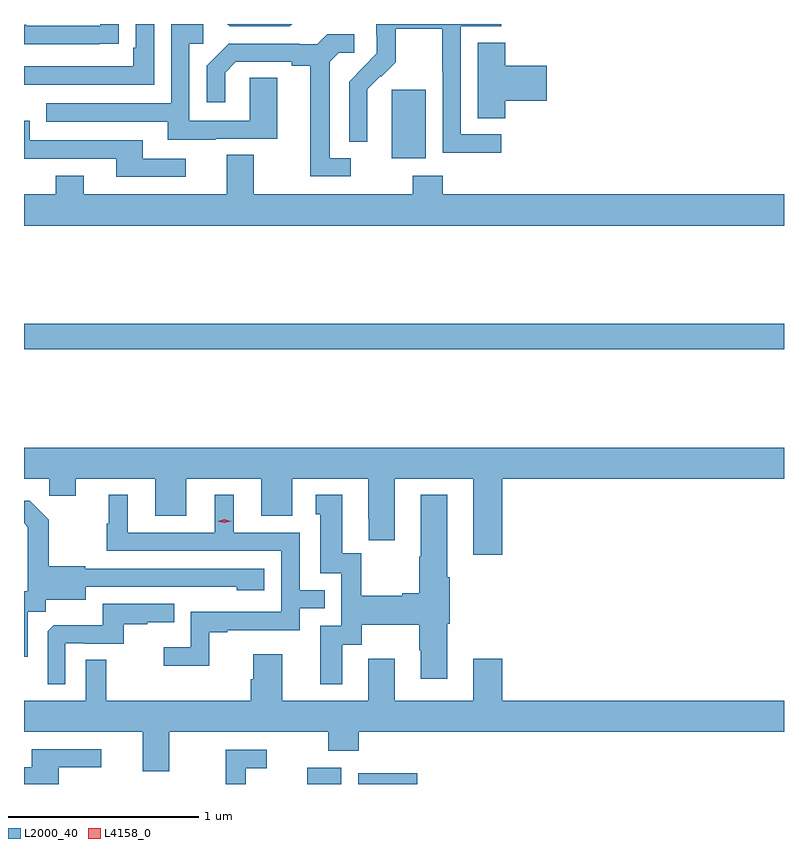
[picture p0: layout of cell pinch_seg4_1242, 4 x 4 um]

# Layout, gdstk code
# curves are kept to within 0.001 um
import gdstk
lib = gdstk.Library(unit=1e-6, precision=1e-09)
def R(c, l, rs):  # rectangles x0, y0, x1, y1
    for r in rs: c.add(gdstk.rectangle(r[:2], r[2:], *l))
def P(c, l, *ps):  # polygons
    for p in ps: c.add(gdstk.Polygon(p, *l))
L2000_40 = (2000, 40)
L4158_0 = (4158, 0)

pinch_seg4_1242 = lib.new_cell('pinch_seg4_1242')
R(pinch_seg4_1242, L2000_40, [(264.8,768.573,264.979,768.658), (265.068,768.573,265.378,768.63), (263.309,770.86,267.309,770.996), (265.244,771.866,265.423,772.227)])
P(pinch_seg4_1242, L2000_40, [(265.822,771.993),(265.608,771.993),(265.608,772.56),(265.822,772.56),(265.822,772.573),(265.164,772.573),(265.164,772.515),(265.166,772.515),(265.166,772.418),(265.02,772.27),(265.02,771.952),(265.116,771.952),(265.115,772.229),(265.185,772.299),(265.188,772.296),(265.265,772.373),(265.265,772.548),(265.51,772.548),(265.51,772.324),(265.512,772.324),(265.512,771.895),(265.822,771.895)],
  [(264.721,772.573),(264.38,772.573),(264.393,772.56),(264.708,772.56)],
  [(263.994,772.573),(263.898,772.573),(263.898,772.447),(263.885,772.447),(263.885,772.35),(263.309,772.35),(263.309,772.254),(263.994,772.254)],
  [(263.705,772.468),(263.807,772.468),(263.807,772.573),(263.711,772.573),(263.711,772.563),(263.321,772.563),(263.321,772.568),(263.309,772.568),(263.309,772.467),(263.705,772.467)],
  [(264.319,771.969),(264.643,771.969),(264.643,772.289),(264.498,772.289),(264.498,772.065),(264.18,772.065),(264.18,772.47),(264.253,772.47),(264.253,772.571),(264.084,772.571),(264.084,772.155),(263.425,772.155),(263.425,772.059),(264.065,772.059),(264.065,771.965),(264.319,771.965)],
  [(265.03,771.867),(264.919,771.867),(264.919,772.375),(264.966,772.422),(265.048,772.422),(265.048,772.519),(264.904,772.519),(264.852,772.467),(264.758,772.467),(264.758,772.47),(264.386,772.47),(264.27,772.354),(264.27,772.161),(264.367,772.161),(264.367,772.317),(264.424,772.374),(264.719,772.374),(264.719,772.352),(264.815,772.352),(264.815,771.771),(265.03,771.771)],
  [(265.841,772.169),(266.059,772.169),(266.059,772.352),(265.841,772.352),(265.841,772.475),(265.697,772.475),(265.697,772.078),(265.841,772.078)],
  [(264.16,771.864),(263.935,771.864),(263.935,771.96),(263.34,771.96),(263.34,772.063),(263.309,772.063),(263.309,771.864),(263.795,771.864),(263.795,771.768),(264.16,771.768)],
  [(267.309,771.676),(265.514,771.676),(265.514,771.775),(265.354,771.775),(265.354,771.676),(264.517,771.676),(264.517,771.884),(264.377,771.884),(264.377,771.676),(263.623,771.676),(263.623,771.775),(263.476,771.775),(263.476,771.676),(263.309,771.676),(263.309,771.512),(267.309,771.512)],
  [(265.826,770.18),(267.309,770.18),(267.309,770.344),(263.309,770.344),(263.309,770.18),(263.443,770.18),(263.443,770.09),(263.581,770.09),(263.581,770.18),(263.999,770.18),(263.999,769.986),(264.163,769.986),(264.163,770.18),(264.557,770.18),(264.557,769.986),(264.721,769.986),(264.721,770.18),(265.121,770.18),(265.121,769.969),(265.124,769.969),(265.124,769.857),(265.261,769.857),(265.261,770.18),(265.673,770.18),(265.673,769.779),(265.826,769.779)],
  [(264.985,769.306),(265.087,769.306),(265.087,769.412),(265.39,769.412),(265.39,769.278),(265.397,769.278),(265.397,769.128),(265.537,769.128),(265.537,769.416),(265.55,769.416),(265.55,769.66),(265.537,769.66),(265.537,770.095),(265.397,770.095),(265.397,769.769),(265.39,769.769),(265.39,769.577),(265.301,769.577),(265.301,769.564),(265.083,769.564),(265.083,769.787),(264.985,769.787),(264.985,770.095),(264.845,770.095),(264.845,769.992),(264.869,769.992),(264.869,769.683),(264.978,769.683),(264.978,769.407),(264.869,769.407),(264.869,769.098),(264.985,769.098)],
  [(264.285,769.371),(264.379,769.371),(264.379,769.383),(264.759,769.383),(264.759,769.497),(264.893,769.497),(264.893,769.593),(264.759,769.593),(264.759,769.896),(264.412,769.896),(264.412,770.095),(264.314,770.095),(264.314,769.896),(263.854,769.896),(263.854,770.095),(263.756,770.095),(263.756,769.944),(263.745,769.944),(263.745,769.8),(264.663,769.8),(264.663,769.479),(264.186,769.479),(264.186,769.294),(264.045,769.294),(264.045,769.196),(264.285,769.196)],
  [(263.329,769.48),(263.424,769.48),(263.424,769.544),(263.635,769.544),(263.635,769.611),(264.429,769.61),(264.429,769.592),(264.574,769.592),(264.574,769.707),(263.631,769.707),(263.631,769.72),(263.439,769.72),(263.439,769.965),(263.339,770.065),(263.309,770.065),(263.309,769.945),(263.33,769.924),(263.33,769.829),(263.328,769.829),(263.328,769.588),(263.309,769.588),(263.309,769.242),(263.329,769.242)],
  [(263.526,769.314),(263.626,769.314),(263.626,769.311),(263.834,769.311),(263.834,769.413),(263.957,769.413),(263.957,769.424),(264.101,769.424),(264.101,769.521),(263.724,769.521),(263.724,769.409),(263.465,769.409),(263.433,769.377),(263.433,769.097),(263.526,769.097)],
  [(264.073,768.848),(264.91,768.848),(264.91,768.749),(265.07,768.749),(265.07,768.848),(267.309,768.848),(267.309,769.012),(265.826,769.012),(265.826,769.231),(265.673,769.231),(265.673,769.012),(265.261,769.012),(265.261,769.231),(265.121,769.231),(265.121,769.012),(264.667,769.012),(264.667,769.255),(264.515,769.255),(264.515,769.125),(264.503,769.125),(264.503,769.012),(263.743,769.012),(263.743,769.226),(263.634,769.226),(263.634,769.012),(263.309,769.012),(263.309,768.848),(263.933,768.848),(263.933,768.64),(264.073,768.64)],
  [(263.491,768.66),(263.716,768.66),(263.716,768.756),(263.351,768.756),(263.351,768.66),(263.309,768.66),(263.309,768.573),(263.491,768.573)],
  [(264.475,768.657),(264.586,768.657),(264.586,768.753),(264.371,768.753),(264.371,768.573),(264.475,768.573)])
P(pinch_seg4_1242, L4158_0, [(264.363,769.947),(264.328,769.957),(264.327,769.957),(264.328,769.957),(264.363,769.967),(264.398,769.957),(264.399,769.957),(264.398,769.957)])

lib.write_gds('pinch_seg4_1242.gds')
